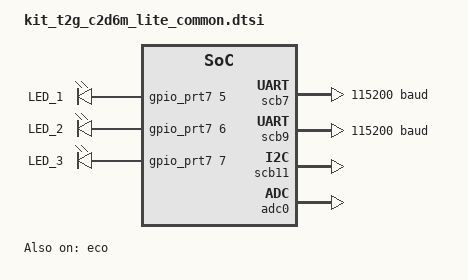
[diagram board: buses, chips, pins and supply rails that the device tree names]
/*
 * Copyright (c) 2026 Linumiz
 * SPDX-License-Identifier: Apache-2.0
 */

#include <arm/infineon/cat1c/traveo/cyt4dn/system_clocks.dtsi>
#include <arm/infineon/cat1c/traveo/cyt4dn/cyt4dn.dtsi>
#include <arm/infineon/cat1c/traveo/cyt4dn/cyt4dn-pinctrl.dtsi>
#include <zephyr/dt-bindings/input/input-event-codes.h>
#include <zephyr/dt-bindings/pinctrl/ifx_cat1-pinctrl.h>

/ {
	leds {
		compatible = "gpio-leds";

		user_led1: user_led1 {
			label = "LED_1";
			gpios = <&gpio_prt7 5 GPIO_ACTIVE_HIGH>;
		};

		user_led2: user_led2 {
			label = "LED_2";
			gpios = <&gpio_prt7 6 GPIO_ACTIVE_HIGH>;
		};

		user_led3: user_led3 {
			label = "LED_3";
			gpios = <&gpio_prt7 7 GPIO_ACTIVE_HIGH>;
		};
	};

	reserved-memory {
		#address-cells = <1>;
		#size-cells = <1>;

		sram_m0plus: memory@28000800 {
			compatible = "mmio-sram";
			reg = <0x28000800 DT_SIZE_K(30)>;
		};

		sram_m7_0: memory@28008000 {
			compatible = "mmio-sram";
			reg = <0x28008000 DT_SIZE_K(224)>;
		};

		sram_m7_1: memory@28040000 {
			compatible = "mmio-sram";
			reg = <0x28040000 DT_SIZE_K(256)>;
		};
	};
};

&code_flash0 {
	partitions {
		ranges;
		#address-cells = <1>;
		#size-cells = <1>;

		m0p_partition: partition_m0p@0 {
			compatible = "zephyr,mapped-partition";
			label = "m0p_partition";
			reg = <0x0 DT_SIZE_K(512)>;
		};

		m7_0_partition: partition@80000 {
			compatible = "zephyr,mapped-partition";
			label = "m7_0_partition";
			reg = <0x80000 DT_SIZE_K(2656)>;
		};

		m7_1_partition: partition@318000 {
			compatible = "zephyr,mapped-partition";
			label = "m7_1_partition";
			reg = <0x318000 DT_SIZE_K(3168)>;
		};
	};
};

spi0: &scb0 {
	#address-cells = <1>;
	#size-cells = <0>;
	compatible = "infineon,spi";
	clocks = <&clk_peri1 8 1 3>;

	pinctrl-0 = <&p11_3_scb0_spi_mosi &p11_0_scb0_spi_miso &p11_2_scb0_spi_clk>;
	pinctrl-names = "default";
	cs-gpios = <&gpio_prt11 1 GPIO_ACTIVE_LOW>;

	dmas = <&dma1 16>, <&dma1 17>;
	dma-names = "tx", "rx";
};

uart7: &scb7 {
	compatible = "infineon,uart";
	current-speed = <115200>;
	dmas = <&dma1 30>, <&dma1 31>;
	dma-names = "tx", "rx";
	clocks = <&clk_peri1 15 0 1>;

	/* UART pins */
	pinctrl-0 = <&p9_0_scb7_uart_rx &p9_1_scb7_uart_tx>;
	pinctrl-names = "default";
};

uart9: &scb9 {
	compatible = "infineon,uart";
	current-speed = <115200>;
	dmas = <&dma1 34>, <&dma1 35>;
	dma-names = "tx", "rx";
	clocks = <&clk_peri1 17 0 0>;

	/* UART pins */
	pinctrl-0 = <&p29_0_scb9_uart_rx &p29_1_scb9_uart_tx>;
	pinctrl-names = "default";
};

i2c11: &scb11 {
	compatible = "infineon,i2c";
	clocks = <&clk_peri1 19 0 2>;
        #address-cells = <1>;
        #size-cells = <0>;
	pinctrl-0 = <&p0_4_scb11_i2c_scl &p0_5_scb11_i2c_sda>;
	pinctrl-names = "default";
	status = "okay";
};

&adc0 {
	total-channels = <24>;
	clock-frequency = <26670000>;
	clocks = <&clk_peri1 20 0 2>;
	status = "okay";
};

&dma1 {
	status = "okay";
};

&gpio_prt7 {
	status = "okay";
};

&eco {
	status = "okay";
};

&pll0 {
	status = "okay";
};

&pll1 {
	status = "okay";
};

&pll2 {
	status = "okay";
};

&pll3 {
	status = "okay";
};

&pll4 {
	status = "okay";
};

&pll5 {
	status = "okay";
};

&pll6 {
	status = "okay";
};

&clk_hf0 {
	status = "okay";
};

&clk_hf1 {
	status = "okay";
};

&clk_hf2 {
	status = "okay";
};

&clk_hf3 {
	status = "okay";
};

&clk_hf4 {
	status = "okay";
};

&clk_hf5 {
	status = "okay";
};

&clk_hf6 {
	status = "okay";
};

&clk_hf7 {
	status = "okay";
};

&clk_hf8 {
	status = "okay";
};

&clk_hf9 {
	status = "okay";
};

&clk_hf10 {
	status = "okay";
};

&clk_hf11 {
	status = "okay";
};

&clk_hf12 {
	status = "okay";
};

&clk_peri1 {
	status = "okay";
};
